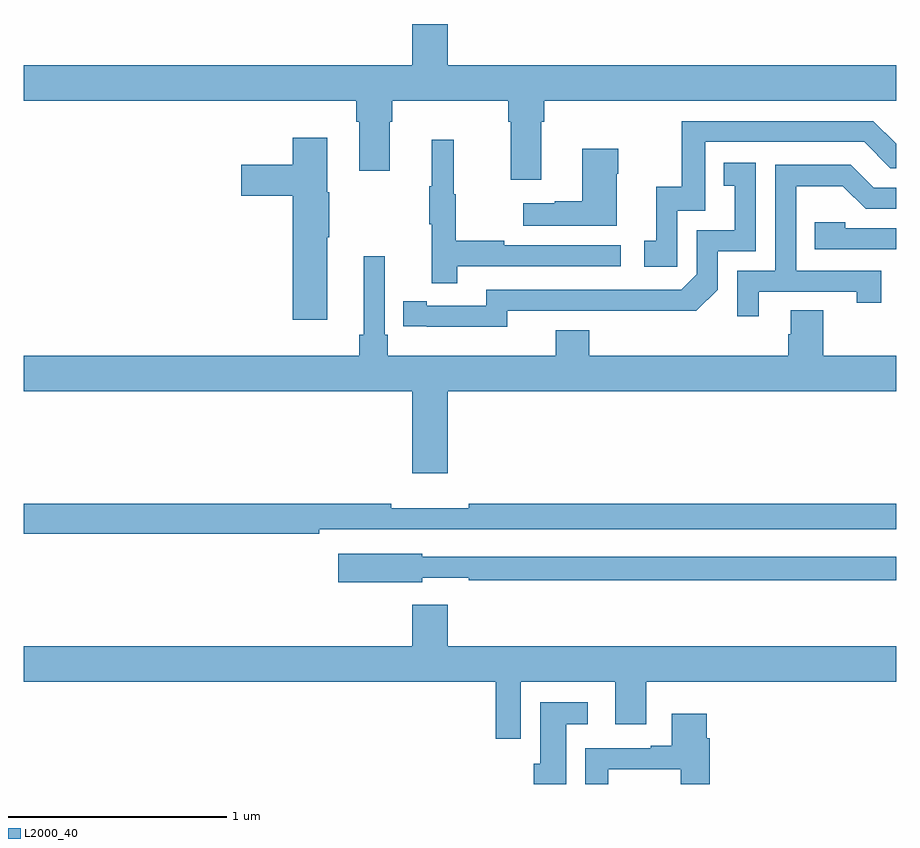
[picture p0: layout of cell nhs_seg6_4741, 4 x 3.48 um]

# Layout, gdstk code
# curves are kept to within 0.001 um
import gdstk
lib = gdstk.Library(unit=1e-6, precision=1e-09)
def P(c, l, *ps):  # polygons
    for p in ps: c.add(gdstk.Polygon(p, *l))
L2000_40 = (2000, 40)

nhs_seg6_4741 = lib.new_cell('nhs_seg6_4741')
P(nhs_seg6_4741, L2000_40, [(393.373,984.536),(393.386,984.536),(393.386,984.632),(395,984.632),(395,984.796),(392.944,984.796),(392.944,984.985),(392.78,984.985),(392.78,984.796),(391,984.796),(391,984.632),(392.525,984.632),(392.525,984.536),(392.537,984.536),(392.537,984.312),(392.677,984.312),(392.677,984.536),(392.69,984.536),(392.69,984.632),(393.221,984.632),(393.221,984.536),(393.233,984.536),(393.233,984.27),(393.373,984.27)],
  [(393.996,984.129),(394.125,984.129),(394.125,984.444),(394.854,984.444),(394.974,984.324),(395,984.324),(395,984.436),(394.896,984.54),(394.017,984.54),(394.017,984.238),(393.899,984.238),(393.899,983.991),(393.846,983.991),(393.846,983.871),(393.996,983.871)],
  [(392.392,984.007),(392.4,984.007),(392.4,984.213),(392.392,984.213),(392.392,984.463),(392.234,984.463),(392.234,984.339),(391.998,984.339),(391.998,984.197),(392.234,984.197),(392.234,983.628),(392.392,983.628)],
  [(392.987,983.874),(393.736,983.874),(393.736,983.97),(393.203,983.97),(393.203,983.99),(392.98,983.99),(392.98,984.204),(392.972,984.204),(392.972,984.454),(392.87,984.454),(392.87,984.241),(392.859,984.241),(392.859,984.067),(392.87,984.067),(392.87,983.796),(392.987,983.796)],
  [(393.718,984.299),(393.726,984.299),(393.726,984.412),(393.56,984.412),(393.56,984.173),(393.434,984.173),(393.434,984.163),(393.291,984.163),(393.291,984.059),(393.718,984.059)],
  [(393.216,983.67),(394.084,983.669),(394.182,983.766),(394.182,983.943),(394.356,983.943),(394.356,984.349),(394.21,984.349),(394.21,984.243),(394.259,984.243),(394.259,984.039),(394.086,984.039),(394.086,983.838),(394.014,983.766),(393.12,983.766),(393.12,983.694),(392.848,983.694),(392.848,983.714),(392.74,983.714),(392.74,983.598),(393.216,983.597)],
  [(394.369,983.757),(394.82,983.757),(394.82,983.706),(394.931,983.706),(394.931,983.853),(394.542,983.853),(394.542,984.242),(394.756,984.242),(394.86,984.138),(395,984.138),(395,984.234),(394.897,984.234),(394.792,984.339),(394.446,984.339),(394.446,983.853),(394.272,983.853),(394.272,983.646),(394.369,983.646)],
  [(395,984.048),(394.767,984.048),(394.767,984.075),(394.627,984.075),(394.627,983.952),(395,983.952)],
  [(392.944,983.3),(395,983.3),(395,983.464),(394.665,983.464),(394.665,983.672),(394.517,983.672),(394.517,983.562),(394.505,983.562),(394.505,983.464),(393.593,983.464),(393.593,983.581),(393.44,983.581),(393.44,983.464),(392.669,983.464),(392.669,983.56),(392.655,983.56),(392.655,983.92),(392.558,983.92),(392.558,983.56),(392.539,983.56),(392.539,983.464),(391,983.464),(391,983.3),(392.78,983.3),(392.78,982.926),(392.944,982.926)],
  [(392.354,982.668),(395,982.668),(395,982.784),(393.04,982.784),(393.04,982.765),(392.684,982.765),(392.684,982.784),(391,982.784),(391,982.648),(392.354,982.648)],
  [(392.826,982.446),(393.04,982.446),(393.04,982.434),(395,982.434),(395,982.542),(392.826,982.542),(392.826,982.555),(392.442,982.555),(392.442,982.426),(392.826,982.426)],
  [(393.279,981.968),(393.713,981.968),(393.713,981.774),(393.853,981.774),(393.853,981.968),(395,981.968),(395,982.132),(392.944,982.132),(392.944,982.321),(392.78,982.321),(392.78,982.132),(391,982.132),(391,981.968),(393.163,981.968),(393.163,981.708),(393.279,981.708)],
  [(393.487,981.773),(393.586,981.773),(393.586,981.874),(393.368,981.874),(393.368,981.594),(393.338,981.594),(393.338,981.5),(393.487,981.5)],
  [(393.679,981.567),(394.013,981.567),(394.013,981.5),(394.145,981.5),(394.145,981.71),(394.132,981.71),(394.132,981.823),(393.971,981.823),(393.971,981.676),(393.875,981.676),(393.875,981.663),(393.575,981.663),(393.575,981.5),(393.679,981.5)])

lib.write_gds('nhs_seg6_4741.gds')
